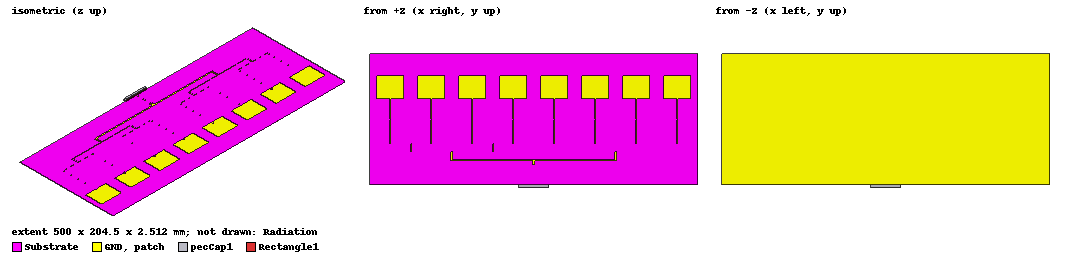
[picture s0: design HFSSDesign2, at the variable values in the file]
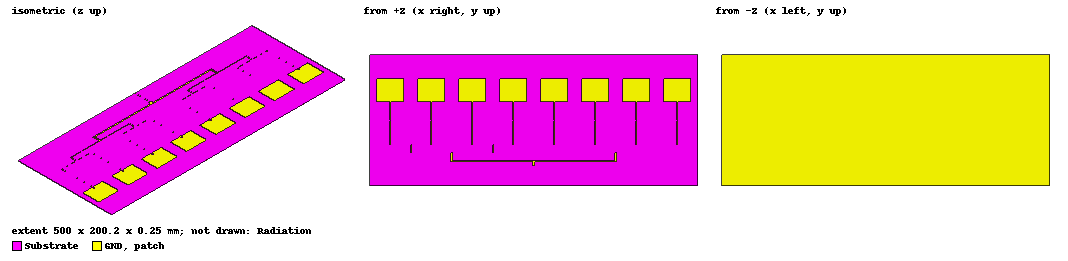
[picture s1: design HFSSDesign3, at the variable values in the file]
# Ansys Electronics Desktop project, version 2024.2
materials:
  vacuum: permittivity=1
  air: permittivity=1.0006 permeability=1.0000004
  copper: permeability=0.999991 conductivity=58000000
  pec: conductivity=1e+30
  polyimide - JLC: permittivity=3.3 dielectric_loss_tangent=0.008

design HFSSDesign2 (HFSS, HFSS Modal Network, model units mm)
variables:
  wqwt = 0.62mm
  lambda = 125mm
  t = 0.5mm
  w = 42.624646mm
  l = 34.401747mm
  wbase = 4.5mm
  t1 = 2.25mm
  t2 = 1mm
  lambda2 = 0
  k = (53+5.70087333) mm
  t3 = 0.5mm
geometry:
  GND [copper] = box(corner=(-2*lambda, -50mm, 0mm), size=(4*lambda, 200mm, 0.012mm))
  Substrate [polyimide - JLC] = box(corner=(-2*lambda, -50mm, 0.012mm), size=(lambda*4, 200mm, 0.025mm))
  quarterwavetransformer = box(corner=(-wqwt/2, -50mm, 0.037mm), size=(wqwt, lambda/4, 0.012mm))
  patch [copper] = box(corner=(-w/2, -l/2, 0.037mm), size=(w, l, 0.012mm))
  cut = box(corner=(-t3, -(l/2-1mm), 0.037mm), size=(2*t3, -1mm, 0.012mm))
  patch.subtract(cut)
  patch.move(-3*lambda/4, 20mm, 0mm)
  BaseFeed = box(corner=(-wbase /2, lambda/4-50mm, 0.037mm), size=(wbase, 5mm, 0.012mm))
  BaseFeed.unite(quarterwavetransformer)
  Second_Feed = box(corner=(-lambda-t1/2, -13.75mm, 0.037mm), size=(2*lambda+t1, 2.25mm, 0.012mm))
  patch1 = box(corner=(-w/2, -l/2, 0.037mm), size=(w, l, 0.012mm))
  cut1 = box(corner=(-2*t3, -(l/2-4mm), 0.037mm), size=(4*t3, -4mm, 0.012mm))
  patch1.subtract(cut1)
  patch1.move(-lambda/2, 20mm, 0mm)
  patch1.move(3*lambda/4, 0mm, 0mm)
  Rectangle1 = rectangle(corner=(-5*wbase, -50mm, 0.012mm), z_size=2.5mm, x_size=10*wbase)
  Radiation [air] = box(corner=(-500mm, -200mm, -100mm), size=(1000mm, 500mm, 200mm))
  pecCap1 [pec] = sweep_along_normal(Rectangle1.face(at (0, -50, 1.262)), length=-4.5mm)
  patch1.move(-lambda/2, 0mm, 0mm)
  [patch, patch1].move(0mm, 20mm+k, 0mm)
  Box1 = box(corner=(-lambda-t1/2, -11.5mm, 0.037mm), size=(t1, 11.5mm, 0.012mm))
  ThirdFeed = box(corner=(-3*lambda/2, 0mm, 0.037mm), size=(lambda+t2, 1mm, 0.012mm))
  ThirdFeed.unite(Box1)
  ThirdFeed1 = box(corner=(lambda/2-t2/2, 0mm, 0.037mm), size=(lambda+t2, 1mm, 0.012mm))
  Box2 = box(corner=(lambda-t1/2, -11.5mm, 0.037mm), size=(t1, 11.5mm, 0.012mm))
  ThirdFeed1.unite(Box2)
  patch2 = box(corner=(-w/2, -l/2, 0.037mm), size=(w, l, 0.012mm))
  cut2 = box(corner=(-2*t3, -(l/2-4mm), 0.037mm), size=(4*t3, -4mm, 0.012mm))
  patch2.subtract(cut2)
  patch2.move(-lambda/2, 20mm, 0mm)
  patch2.move(3*lambda/4, 0mm, 0mm)
  patch2.move(-lambda/2, 0mm, 0mm)
  patch2.move(0mm, 15mm, 0mm)
  patch3 = box(corner=(-w/2, -l/2, 0.037mm), size=(w, l, 0.012mm))
  cut3 = box(corner=(-2*t3, -(l/2-4mm), 0.037mm), size=(4*t3, -4mm, 0.012mm))
  patch3.subtract(cut3)
  patch3.move(-lambda/2, 20mm, 0mm)
  patch3.move(3*lambda/4, 0mm, 0mm)
  patch3.move(-lambda/2, 0mm, 0mm)
  patch3.move(0mm, 15mm, 0mm)
  patch2.move(lambda/2, k+5mm, 0mm)
  patch3.move(lambda, k+5mm, 0mm)
  patch4 = box(corner=(-w/2, -l/2, 0.037mm), size=(w, l, 0.012mm))
  cut4 = box(corner=(-2*t3, -(l/2-4mm), 0.037mm), size=(4*t3, -4mm, 0.012mm))
  patch4.subtract(cut4)
  patch4.move(-3*lambda/4, 20mm, 0mm)
  patch4.move(0mm, 15mm, 0mm)
  patch5 = box(corner=(-w/2, -l/2, 0.037mm), size=(w, l, 0.012mm))
  cut5 = box(corner=(-2*t3, -(l/2-4mm), 0.037mm), size=(4*t3, -4mm, 0.012mm))
  patch5.subtract(cut5)
  patch5.move(-3*lambda/4, 20mm, 0mm)
  patch5.move(0mm, 15mm, 0mm)
  patch6 = box(corner=(-w/2, -l/2, 0.037mm), size=(w, l, 0.012mm))
  cut6 = box(corner=(-2*t3, -(l/2-4mm), 0.037mm), size=(4*t3, -4mm, 0.012mm))
  patch6.subtract(cut6)
  patch6.move(-3*lambda/4, 20mm, 0mm)
  patch6.move(0mm, 15mm, 0mm)
  patch7 = box(corner=(-w/2, -l/2, 0.037mm), size=(w, l, 0.012mm))
  cut7 = box(corner=(-2*t3, -(l/2-4mm), 0.037mm), size=(4*t3, -4mm, 0.012mm))
  patch7.subtract(cut7)
  patch7.move(-3*lambda/4, 20mm, 0mm)
  patch7.move(0mm, 15mm, 0mm)
  patch4.move(-lambda/2, k+5mm, 0mm)
  patch5.move(-lambda, k+5mm, 0mm)
  patch6.move(2*lambda, k+5mm, 0mm)
  patch7.move(5*lambda/2, k+5mm, 0mm)
  FourthFeed = box(corner=(-lambda/2, 1mm, 0.037mm), size=(t2, 11.5mm, 0.012mm))
  FifthFeed = box(corner=(-3*lambda/4-t/2, 12.5mm, 0.037mm), size=(lambda/2 + t, t, 0.012mm))
  FourthFeed.unite(FifthFeed)
  FourthFeed1 = box(corner=(-lambda/2, 1mm, 0.037mm), size=(t2, 11.5mm, 0.012mm))
  FifthFeed1 = box(corner=(-3*lambda/4-t/2, 12.5mm, 0.037mm), size=(lambda/2 + t, t, 0.012mm))
  FourthFeed1.unite(FifthFeed1)
  FourthFeed1.move(-125mm, 0mm, 0mm)
  FourthFeed2 = box(corner=(-lambda/2, 1mm, 0.037mm), size=(t2, 11.5mm, 0.012mm))
  FifthFeed2 = box(corner=(-3*lambda/4-t/2, 12.5mm, 0.037mm), size=(lambda/2 + t, t, 0.012mm))
  FourthFeed2.unite(FifthFeed2)
  FourthFeed3 = box(corner=(-lambda/2-t2/2, 1mm, 0.037mm), size=(t2, 11.5mm, 0.012mm))
  FifthFeed3 = box(corner=(-3*lambda/4-t/2, 12.5mm, 0.037mm), size=(lambda/2 + t, t, 0.012mm))
  FourthFeed3.unite(FifthFeed3)
  FourthFeed3.move(125mm, 0mm, 0mm)
  FourthFeed4 = box(corner=(-lambda/2-t2/2, 1mm, 0.037mm), size=(t2, 11.5mm, 0.012mm))
  FifthFeed4 = box(corner=(-3*lambda/4-t/2, 12.5mm, 0.037mm), size=(lambda/2 + t, t, 0.012mm))
  FourthFeed4.unite(FifthFeed4)
  FourthFeed4.move(2*lambda, 0mm, 0mm)
  goofyfeed = box(corner=(-94mm, 13mm, 0.037mm), size=(0.5mm, 5mm, 0.012mm))
  qwit1 = box(corner=(-0.0940396643mm-3*lambda/4, 18mm, 0.037mm), size=(0.18807933mm, lambda/4, 0.012mm))
  switchshort = box(corner=(-0.0294311061mm-3*lambda/4, 49.25mm, 0.037mm), size=(0.058862212mm, 2mm, 0.012mm))
  qwit2 = box(corner=(-0.0940396643mm-3*lambda/4, 51.25mm, 0.037mm), size=(0.18807933mm, lambda/4, 0.012mm))
  feed = box(corner=(-0.25mm-3*lambda/4, 82.5mm, 0.037mm), size=(0.5mm, 12.299126666701mm+k-66mm, 0.012mm))
  feed.unite(goofyfeed, qwit1, qwit2)
  feed1 = box(corner=(-0.25mm-3*lambda/4, 82.5mm, 0.037mm), size=(0.5mm, 12.299126666702mm+k-66mm, 0.012mm))
  goofyfeed1 = box(corner=(-94mm, 13mm, 0.037mm), size=(0.5mm, 5mm, 0.012mm))
  qwit3 = box(corner=(-0.0940396643mm-3*lambda/4, 18mm, 0.037mm), size=(0.18807933mm, lambda/4, 0.012mm))
  qwit4 = box(corner=(-0.0940396643mm-3*lambda/4, 51.25mm, 0.037mm), size=(0.18807933mm, lambda/4, 0.012mm))
  feed1.unite(goofyfeed1, qwit3, qwit4)
  feed2 = box(corner=(-0.25mm-3*lambda/4, 82.5mm, 0.037mm), size=(0.5mm, 12.299126666702mm+k-66mm, 0.012mm))
  goofyfeed2 = box(corner=(-94mm, 13mm, 0.037mm), size=(0.5mm, 5mm, 0.012mm))
  qwit5 = box(corner=(-0.0940396643mm-3*lambda/4, 18mm, 0.037mm), size=(0.18807933mm, lambda/4, 0.012mm))
  qwit6 = box(corner=(-0.0940396643mm-3*lambda/4, 51.25mm, 0.037mm), size=(0.18807933mm, lambda/4, 0.012mm))
  feed2.unite(goofyfeed2, qwit5, qwit6)
  feed3 = box(corner=(-0.25mm-3*lambda/4, 82.5mm, 0.037mm), size=(0.5mm, 12.299126666702mm+k-66mm, 0.012mm))
  goofyfeed3 = box(corner=(-94mm, 13mm, 0.037mm), size=(0.5mm, 5mm, 0.012mm))
  qwit7 = box(corner=(-0.0940396643mm-3*lambda/4, 18mm, 0.037mm), size=(0.18807933mm, lambda/4, 0.012mm))
  qwit8 = box(corner=(-0.0940396643mm-3*lambda/4, 51.25mm, 0.037mm), size=(0.18807933mm, lambda/4, 0.012mm))
  feed3.unite(goofyfeed3, qwit7, qwit8)
  feed4 = box(corner=(-0.25mm-3*lambda/4, 82.5mm, 0.037mm), size=(0.5mm, 12.299126666702mm+k-66mm, 0.012mm))
  goofyfeed4 = box(corner=(-94mm, 13mm, 0.037mm), size=(0.5mm, 5mm, 0.012mm))
  qwit9 = box(corner=(-0.0940396643mm-3*lambda/4, 18mm, 0.037mm), size=(0.18807933mm, lambda/4, 0.012mm))
  qwit10 = box(corner=(-0.0940396643mm-3*lambda/4, 51.25mm, 0.037mm), size=(0.18807933mm, lambda/4, 0.012mm))
  feed4.unite(goofyfeed4, qwit9, qwit10)
  feed5 = box(corner=(-0.25mm-3*lambda/4, 82.5mm, 0.037mm), size=(0.5mm, 12.299126666702mm+k-66mm, 0.012mm))
  goofyfeed5 = box(corner=(-94mm, 13mm, 0.037mm), size=(0.5mm, 5mm, 0.012mm))
  qwit11 = box(corner=(-0.0940396643mm-3*lambda/4, 18mm, 0.037mm), size=(0.18807933mm, lambda/4, 0.012mm))
  qwit12 = box(corner=(-0.0940396643mm-3*lambda/4, 51.25mm, 0.037mm), size=(0.18807933mm, lambda/4, 0.012mm))
  feed5.unite(goofyfeed5, qwit11, qwit12)
  feed6 = box(corner=(-0.25mm-3*lambda/4, 82.5mm, 0.037mm), size=(0.5mm, 12.299126666702mm+k-66mm, 0.012mm))
  goofyfeed6 = box(corner=(-94mm, 13mm, 0.037mm), size=(0.5mm, 5mm, 0.012mm))
  qwit13 = box(corner=(-0.0940396643mm-3*lambda/4, 18mm, 0.037mm), size=(0.18807933mm, lambda/4, 0.012mm))
  qwit14 = box(corner=(-0.0940396643mm-3*lambda/4, 51.25mm, 0.037mm), size=(0.18807933mm, lambda/4, 0.012mm))
  feed6.unite(goofyfeed6, qwit13, qwit14)
  feed7 = box(corner=(-0.25mm-3*lambda/4, 82.5mm, 0.037mm), size=(0.5mm, 12.299126666702mm+k-66mm, 0.012mm))
  goofyfeed7 = box(corner=(-94mm, 13mm, 0.037mm), size=(0.5mm, 5mm, 0.012mm))
  qwit15 = box(corner=(-0.0940396643mm-3*lambda/4, 18mm, 0.037mm), size=(0.18807933mm, lambda/4, 0.012mm))
  qwit16 = box(corner=(-0.0940396643mm-3*lambda/4, 51.25mm, 0.037mm), size=(0.18807933mm, lambda/4, 0.012mm))
  feed7.unite(goofyfeed7, qwit15, qwit16)
  feed1.move(lambda/2, 0mm, 0mm)
  feed2.move(lambda, 0mm, 0mm)
  feed3.move(3*lambda/2, 0mm, 0mm)
  feed4.move(2*lambda, 0mm, 0mm)
  feed5.move(5*lambda/2, 0mm, 0mm)
  feed6.move(-lambda/2, 0mm, 0mm)
  feed7.move(-lambda, 0mm, 0mm)
  patch.unite(feed)
  patch1.unite(feed1)
  patch2.unite(feed2)
  patch3.unite(feed3)
  patch4.unite(feed6)
  patch5.unite(feed7)
  patch6.unite(feed4)
  patch7.unite(feed5)
  patch.unite(patch1, patch2, patch7, switchshort, Second_Feed, FourthFeed4, FourthFeed3, FourthFeed2, FourthFeed1, FourthFeed, BaseFeed, ThirdFeed1, ThirdFeed, patch6, patch5, patch4, patch3)
  Rectangle2 = rectangle(corner=(-156.34404mm, 49.25mm, 0.049mm), z_size=-0.037mm, x_size=0.18807933mm)
  Rectangle3 = rectangle(corner=(-156.34404mm, 49.25mm, 0.049mm), z_size=-0.037mm, x_size=0.18807933mm)
  Rectangle4 = rectangle(corner=(-156.34404mm, 49.25mm, 0.049mm), z_size=-0.037mm, x_size=0.18807933mm)
  Rectangle5 = rectangle(corner=(-156.34404mm, 49.25mm, 0.049mm), z_size=-0.037mm, x_size=0.18807933mm)
  Rectangle6 = rectangle(corner=(-156.34404mm, 49.25mm, 0.049mm), z_size=-0.037mm, x_size=0.18807933mm)
  Rectangle7 = rectangle(corner=(-156.34404mm, 49.25mm, 0.049mm), z_size=-0.037mm, x_size=0.18807933mm)
  Rectangle8 = rectangle(corner=(-156.34404mm, 49.25mm, 0.049mm), z_size=-0.037mm, x_size=0.18807933mm)
  Rectangle3.move(-lambda/2, 0mm, 0mm)
  Rectangle4.move(lambda, 0mm, 0mm)
  Rectangle5.move(3*lambda/2, 0mm, 0mm)
  Rectangle6.move(2*lambda, 0mm, 0mm)
  Rectangle7.move(5*lambda/2, 0mm, 0mm)
  Rectangle8.move(3*lambda, 0mm, 0mm)
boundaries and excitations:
  PerfE1: Perfect E Objects=patch
  Rad1: Radiation Objects=Radiation
  PerfE3: Perfect E Objects=GND
  1: Wave Port Objects=Rectangle1 WavePortType=Modal NumModes=1 Modes{Mode1{CharImp=Zpi}}
  2: Lumped Port Objects=Rectangle2 LumpedPortType=Modal Modes{Mode1{IntLine{(-156.25, 49.25, 0.012) -> (-156.25, 49.25, 0.049)} CharImp=Zpi RenormImp=50ohm}} Impedance=50ohm
  3: Lumped Port Objects=Rectangle3 LumpedPortType=Modal Modes{Mode1{IntLine{(-218.75, 49.25, 0.012) -> (-218.75, 49.25, 0.049)} CharImp=Zpi RenormImp=50ohm}} Impedance=50ohm
  4: Lumped Port Objects=Rectangle4 LumpedPortType=Modal Modes{Mode1{IntLine{(-31.25, 49.25, 0.012) -> (-31.25, 49.25, 0.049)} CharImp=Zpi RenormImp=50ohm}} Impedance=50ohm
  5: Lumped Port Objects=Rectangle5 LumpedPortType=Modal Modes{Mode1{IntLine{(31.25, 49.25, 0.012) -> (31.25, 49.25, 0.049)} CharImp=Zpi RenormImp=50ohm}} Impedance=50ohm
  6: Lumped Port Objects=Rectangle6 LumpedPortType=Modal Modes{Mode1{IntLine{(93.75, 49.25, 0.012) -> (93.75, 49.25, 0.049)} CharImp=Zpi RenormImp=50ohm}} Impedance=50ohm
  7: Lumped Port Objects=Rectangle7 LumpedPortType=Modal Modes{Mode1{IntLine{(156.25, 49.25, 0.012) -> (156.25, 49.25, 0.049)} CharImp=Zpi RenormImp=50ohm}} Impedance=50ohm
  8: Lumped Port Objects=Rectangle8 LumpedPortType=Modal Modes{Mode1{IntLine{(218.75, 49.25, 0.012) -> (218.75, 49.25, 0.049)} CharImp=Zpi RenormImp=50ohm}} Impedance=50ohm
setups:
  Setup1: HfssDriven Frequency=2.4GHz MaxDeltaS=0.02 MaximumPasses=6 MinimumPasses=1 MinimumConvergedPasses=1 PercentRefinement=30 BasisOrder=1 PortAccuracy=2 DrivenSolverType="Direct Solver"
    sweep Sweep: 1.2GHz to 3.6GHz, 401 points; Type=Fast SaveFields
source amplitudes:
  1:1: 1V 0deg
  2:1, 3:1, 4:1, 5:1, 6:1, 7:1, 8:1: 0W 0deg
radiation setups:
  Infinite Sphere1: Infinite Sphere Theta=-180deg..180deg step 2deg Phi=0deg..90deg step 90deg
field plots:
  Mag_E1: E Field over patch.face(at (-42.4062, 81.5, 0.043), at (-31.25, 83.5759, 0.049), at (-31.25, 83.5759, 0.037), at (-20.0938, 81.5, 0.043), at (-52.5623, 98.7009, 0.043), at (-31.25, 115.902, 0.043), at (-9.93768, 98.7009, 0.043), at (-32.25, 83.5, 0.043), at (-30.25, 83.5, 0.043), at (-31.25, 51.25, 0.043), at (-31.344, 66.875, 0.043), at (-31.156, 66.875, 0.043)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) on Setup1 : Sweep at Freq=2.358GHz Phase=0deg
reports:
  S Parameter Plot 1: dB(S(1,1)) vs Freq on Setup1 : Sweep; markers m1 at 1.716GHz, m2 at 2.04GHz, m3 at 2.592GHz, m4 at 2.886GHz, m5 at 3.198GHz, m6 at 2.358GHz
  Gain Plot 1: dB(GainTotal) vs Theta on Setup1 : LastAdaptive, Infinite Sphere1 [Phi=all Freq=2.4GHz]

design HFSSDesign3 (HFSS, HFSS Modal Network, model units mm)
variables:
  wqwt = 0.62mm
  lambda = 125mm
  t = 0.5mm
  w = 42.624646mm
  l = 34.401747mm
  wbase = 4.5mm
  t1 = 2.25mm
  t2 = 1mm
  lambda2 = 0
  k = (50+5.70087333) mm
  t3 = 0.5mm
  h = 0.025mm
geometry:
  GND [copper] = box(corner=(-2*lambda, -50mm, 0mm), size=(4*lambda, 200mm, 0.012mm))
  Substrate [polyimide - JLC] = box(corner=(-2*lambda, -50mm, 0.012mm), size=(lambda*4, 200mm, 0.025mm))
  quarterwavetransformer = box(corner=(-wqwt/2, -50mm, 0.037mm), size=(wqwt, lambda/4, 0.012mm))
  patch [copper] = box(corner=(-w/2, -l/2, 0.037mm), size=(w, l, 0.012mm))
  cut = box(corner=(-t3, -(l/2-1mm), 0.037mm), size=(2*t3, -1mm, 0.012mm))
  patch.subtract(cut)
  patch.move(-3*lambda/4, 20mm, 0mm)
  BaseFeed = box(corner=(-wbase /2, lambda/4-50mm, 0.037mm), size=(wbase, 5mm, 0.012mm))
  BaseFeed.unite(quarterwavetransformer)
  Second_Feed = box(corner=(-lambda-t1/2, -13.75mm, 0.037mm), size=(2*lambda+t1, 2.25mm, 0.012mm))
  patch1 = box(corner=(-w/2, -l/2, 0.037mm), size=(w, l, 0.012mm))
  cut1 = box(corner=(-2*t3, -(l/2-4mm), 0.037mm), size=(4*t3, -4mm, 0.012mm))
  patch1.subtract(cut1)
  patch1.move(-lambda/2, 20mm, 0mm)
  patch1.move(3*lambda/4, 0mm, 0mm)
  Radiation [air] = box(corner=(-500mm, -200mm, -100mm), size=(1000mm, 500mm, 200mm))
  patch1.move(-lambda/2, 0mm, 0mm)
  [patch, patch1].move(0mm, 20mm+k, 0mm)
  Box1 = box(corner=(-lambda-t1/2, -11.5mm, 0.037mm), size=(t1, 11.5mm, 0.012mm))
  ThirdFeed = box(corner=(-3*lambda/2, 0mm, 0.037mm), size=(lambda+t2, 1mm, 0.012mm))
  ThirdFeed.unite(Box1)
  ThirdFeed1 = box(corner=(lambda/2-t2/2, 0mm, 0.037mm), size=(lambda+t2, 1mm, 0.012mm))
  Box2 = box(corner=(lambda-t1/2, -11.5mm, 0.037mm), size=(t1, 11.5mm, 0.012mm))
  ThirdFeed1.unite(Box2)
  patch2 = box(corner=(-w/2, -l/2, 0.037mm), size=(w, l, 0.012mm))
  cut2 = box(corner=(-2*t3, -(l/2-4mm), 0.037mm), size=(4*t3, -4mm, 0.012mm))
  patch2.subtract(cut2)
  patch2.move(-lambda/2, 20mm, 0mm)
  patch2.move(3*lambda/4, 0mm, 0mm)
  patch2.move(-lambda/2, 0mm, 0mm)
  patch2.move(0mm, 15mm, 0mm)
  patch3 = box(corner=(-w/2, -l/2, 0.037mm), size=(w, l, 0.012mm))
  cut3 = box(corner=(-2*t3, -(l/2-4mm), 0.037mm), size=(4*t3, -4mm, 0.012mm))
  patch3.subtract(cut3)
  patch3.move(-lambda/2, 20mm, 0mm)
  patch3.move(3*lambda/4, 0mm, 0mm)
  patch3.move(-lambda/2, 0mm, 0mm)
  patch3.move(0mm, 15mm, 0mm)
  patch2.move(lambda/2, k+5mm, 0mm)
  patch3.move(lambda, k+5mm, 0mm)
  patch4 = box(corner=(-w/2, -l/2, 0.037mm), size=(w, l, 0.012mm))
  cut4 = box(corner=(-2*t3, -(l/2-4mm), 0.037mm), size=(4*t3, -4mm, 0.012mm))
  patch4.subtract(cut4)
  patch4.move(-3*lambda/4, 20mm, 0mm)
  patch4.move(0mm, 15mm, 0mm)
  patch5 = box(corner=(-w/2, -l/2, 0.037mm), size=(w, l, 0.012mm))
  cut5 = box(corner=(-2*t3, -(l/2-4mm), 0.037mm), size=(4*t3, -4mm, 0.012mm))
  patch5.subtract(cut5)
  patch5.move(-3*lambda/4, 20mm, 0mm)
  patch5.move(0mm, 15mm, 0mm)
  patch6 = box(corner=(-w/2, -l/2, 0.037mm), size=(w, l, 0.012mm))
  cut6 = box(corner=(-2*t3, -(l/2-4mm), 0.037mm), size=(4*t3, -4mm, 0.012mm))
  patch6.subtract(cut6)
  patch6.move(-3*lambda/4, 20mm, 0mm)
  patch6.move(0mm, 15mm, 0mm)
  patch7 = box(corner=(-w/2, -l/2, 0.037mm), size=(w, l, 0.012mm))
  cut7 = box(corner=(-2*t3, -(l/2-4mm), 0.037mm), size=(4*t3, -4mm, 0.012mm))
  patch7.subtract(cut7)
  patch7.move(-3*lambda/4, 20mm, 0mm)
  patch7.move(0mm, 15mm, 0mm)
  patch4.move(-lambda/2, k+5mm, 0mm)
  patch5.move(-lambda, k+5mm, 0mm)
  patch6.move(2*lambda, k+5mm, 0mm)
  patch7.move(5*lambda/2, k+5mm, 0mm)
  FourthFeed = box(corner=(-lambda/2, 1mm, 0.037mm), size=(t2, 11.5mm, 0.012mm))
  FifthFeed = box(corner=(-3*lambda/4-t/2, 12.5mm, 0.037mm), size=(lambda/2 + t, t, 0.012mm))
  FourthFeed.unite(FifthFeed)
  FourthFeed1 = box(corner=(-lambda/2, 1mm, 0.037mm), size=(t2, 11.5mm, 0.012mm))
  FifthFeed1 = box(corner=(-3*lambda/4-t/2, 12.5mm, 0.037mm), size=(lambda/2 + t, t, 0.012mm))
  FourthFeed1.unite(FifthFeed1)
  FourthFeed1.move(-125mm, 0mm, 0mm)
  FourthFeed2 = box(corner=(-lambda/2, 1mm, 0.037mm), size=(t2, 11.5mm, 0.012mm))
  FifthFeed2 = box(corner=(-3*lambda/4-t/2, 12.5mm, 0.037mm), size=(lambda/2 + t, t, 0.012mm))
  FourthFeed2.unite(FifthFeed2)
  FourthFeed3 = box(corner=(-lambda/2-t2/2, 1mm, 0.037mm), size=(t2, 11.5mm, 0.012mm))
  FifthFeed3 = box(corner=(-3*lambda/4-t/2, 12.5mm, 0.037mm), size=(lambda/2 + t, t, 0.012mm))
  FourthFeed3.unite(FifthFeed3)
  FourthFeed3.move(125mm, 0mm, 0mm)
  FourthFeed4 = box(corner=(-lambda/2-t2/2, 1mm, 0.037mm), size=(t2, 11.5mm, 0.012mm))
  FifthFeed4 = box(corner=(-3*lambda/4-t/2, 12.5mm, 0.037mm), size=(lambda/2 + t, t, 0.012mm))
  FourthFeed4.unite(FifthFeed4)
  FourthFeed4.move(2*lambda, 0mm, 0mm)
  goofyfeed = box(corner=(-94mm, 13mm, 0.037mm), size=(0.5mm, 5mm, 0.012mm))
  qwit1 = box(corner=(-0.0940396643mm-3*lambda/4, 18mm, 0.037mm), size=(0.18807933mm, lambda/4, 0.012mm))
  switchshort = box(corner=(-0.0294311061mm-3*lambda/4, 49.25mm, 0.037mm), size=(0.058862212mm, 2mm, 0.012mm))
  qwit2 = box(corner=(-0.0940396643mm-3*lambda/4, 51.25mm, 0.037mm), size=(0.18807933mm, lambda/4, 0.012mm))
  feed = box(corner=(-0.25mm-3*lambda/4, 82.5mm, 0.037mm), size=(0.5mm, 12.299126666701mm+k-66mm, 0.012mm))
  feed.unite(goofyfeed, qwit1, qwit2)
  feed1 = box(corner=(-0.25mm-3*lambda/4, 82.5mm, 0.037mm), size=(0.5mm, 12.299126666702mm+k-66mm, 0.012mm))
  goofyfeed1 = box(corner=(-94mm, 13mm, 0.037mm), size=(0.5mm, 5mm, 0.012mm))
  qwit3 = box(corner=(-0.0940396643mm-3*lambda/4, 18mm, 0.037mm), size=(0.18807933mm, lambda/4, 0.012mm))
  qwit4 = box(corner=(-0.0940396643mm-3*lambda/4, 51.25mm, 0.037mm), size=(0.18807933mm, lambda/4, 0.012mm))
  feed1.unite(goofyfeed1, qwit3, qwit4)
  feed2 = box(corner=(-0.25mm-3*lambda/4, 82.5mm, 0.037mm), size=(0.5mm, 12.299126666702mm+k-66mm, 0.012mm))
  goofyfeed2 = box(corner=(-94mm, 13mm, 0.037mm), size=(0.5mm, 5mm, 0.012mm))
  qwit5 = box(corner=(-0.0940396643mm-3*lambda/4, 18mm, 0.037mm), size=(0.18807933mm, lambda/4, 0.012mm))
  qwit6 = box(corner=(-0.0940396643mm-3*lambda/4, 51.25mm, 0.037mm), size=(0.18807933mm, lambda/4, 0.012mm))
  feed2.unite(goofyfeed2, qwit5, qwit6)
  feed3 = box(corner=(-0.25mm-3*lambda/4, 82.5mm, 0.037mm), size=(0.5mm, 12.299126666702mm+k-66mm, 0.012mm))
  goofyfeed3 = box(corner=(-94mm, 13mm, 0.037mm), size=(0.5mm, 5mm, 0.012mm))
  qwit7 = box(corner=(-0.0940396643mm-3*lambda/4, 18mm, 0.037mm), size=(0.18807933mm, lambda/4, 0.012mm))
  qwit8 = box(corner=(-0.0940396643mm-3*lambda/4, 51.25mm, 0.037mm), size=(0.18807933mm, lambda/4, 0.012mm))
  feed3.unite(goofyfeed3, qwit7, qwit8)
  feed4 = box(corner=(-0.25mm-3*lambda/4, 82.5mm, 0.037mm), size=(0.5mm, 12.299126666702mm+k-66mm, 0.012mm))
  goofyfeed4 = box(corner=(-94mm, 13mm, 0.037mm), size=(0.5mm, 5mm, 0.012mm))
  qwit9 = box(corner=(-0.0940396643mm-3*lambda/4, 18mm, 0.037mm), size=(0.18807933mm, lambda/4, 0.012mm))
  qwit10 = box(corner=(-0.0940396643mm-3*lambda/4, 51.25mm, 0.037mm), size=(0.18807933mm, lambda/4, 0.012mm))
  feed4.unite(goofyfeed4, qwit9, qwit10)
  feed5 = box(corner=(-0.25mm-3*lambda/4, 82.5mm, 0.037mm), size=(0.5mm, 12.299126666702mm+k-66mm, 0.012mm))
  goofyfeed5 = box(corner=(-94mm, 13mm, 0.037mm), size=(0.5mm, 5mm, 0.012mm))
  qwit11 = box(corner=(-0.0940396643mm-3*lambda/4, 18mm, 0.037mm), size=(0.18807933mm, lambda/4, 0.012mm))
  qwit12 = box(corner=(-0.0940396643mm-3*lambda/4, 51.25mm, 0.037mm), size=(0.18807933mm, lambda/4, 0.012mm))
  feed5.unite(goofyfeed5, qwit11, qwit12)
  feed6 = box(corner=(-0.25mm-3*lambda/4, 82.5mm, 0.037mm), size=(0.5mm, 12.299126666702mm+k-66mm, 0.012mm))
  goofyfeed6 = box(corner=(-94mm, 13mm, 0.037mm), size=(0.5mm, 5mm, 0.012mm))
  qwit13 = box(corner=(-0.0940396643mm-3*lambda/4, 18mm, 0.037mm), size=(0.18807933mm, lambda/4, 0.012mm))
  qwit14 = box(corner=(-0.0940396643mm-3*lambda/4, 51.25mm, 0.037mm), size=(0.18807933mm, lambda/4, 0.012mm))
  feed6.unite(goofyfeed6, qwit13, qwit14)
  feed7 = box(corner=(-0.25mm-3*lambda/4, 82.5mm, 0.037mm), size=(0.5mm, 12.299126666702mm+k-66mm, 0.012mm))
  goofyfeed7 = box(corner=(-94mm, 13mm, 0.037mm), size=(0.5mm, 5mm, 0.012mm))
  qwit15 = box(corner=(-0.0940396643mm-3*lambda/4, 18mm, 0.037mm), size=(0.18807933mm, lambda/4, 0.012mm))
  qwit16 = box(corner=(-0.0940396643mm-3*lambda/4, 51.25mm, 0.037mm), size=(0.18807933mm, lambda/4, 0.012mm))
  feed7.unite(goofyfeed7, qwit15, qwit16)
  feed1.move(lambda/2, 0mm, 0mm)
  feed2.move(lambda, 0mm, 0mm)
  feed3.move(3*lambda/2, 0mm, 0mm)
  feed4.move(2*lambda, 0mm, 0mm)
  feed5.move(5*lambda/2, 0mm, 0mm)
  feed6.move(-lambda/2, 0mm, 0mm)
  feed7.move(-lambda, 0mm, 0mm)
  patch.unite(feed)
  patch1.unite(feed1)
  patch2.unite(feed2)
  patch3.unite(feed3)
  patch4.unite(feed6)
  patch5.unite(feed7)
  patch6.unite(feed4)
  patch7.unite(feed5)
  patch.unite(patch1, patch2, patch7, switchshort, Second_Feed, FourthFeed4, FourthFeed3, FourthFeed2, FourthFeed1, FourthFeed, BaseFeed, ThirdFeed1, ThirdFeed, patch6, patch5, patch4, patch3)
  WavePort1 = rectangle(corner=(-2*wqwt, -50mm, -5*h), z_size=10*h, x_size=4*wqwt)
  pecCap1 [pec] = sweep_along_normal(WavePort1.face(at (0, -50, 0)), length=-0.24mm)
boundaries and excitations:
  PerfE1: Perfect E Objects=patch
  Rad1: Radiation Objects=Radiation
  PerfE3: Perfect E Objects=GND
  1: Wave Port Objects=WavePort1 WavePortType=Modal NumModes=1 Modes{Mode1{IntLine{(0, -50, -0.125) -> (0, -50, 0.125)} CharImp=Zpi}}
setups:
  Setup1: HfssDriven Frequency=2.4GHz MaxDeltaS=0.02 MaximumPasses=6 MinimumPasses=1 MinimumConvergedPasses=1 PercentRefinement=30 BasisOrder=1 PortAccuracy=2 DrivenSolverType="Direct Solver"
    sweep Sweep: 1.2GHz to 3.6GHz, 401 points; Type=Fast SaveFields
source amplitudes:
  1:1: 1W 0deg
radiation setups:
  Infinite Sphere1: Infinite Sphere Theta=-180deg..180deg step 2deg Phi=0deg..90deg step 90deg
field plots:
  Mag_E1: E Field over patch.face(at (-42.4062, 78.5, 0.043), at (-31.25, 82.0759, 0.049), at (-31.25, 82.0759, 0.037), at (-20.0938, 78.5, 0.043), at (-52.5623, 95.7009, 0.043), at (-31.25, 112.902, 0.043), at (-9.93768, 95.7009, 0.043), at (-32.25, 80.5, 0.043), at (-30.25, 80.5, 0.043), at (-31.25, 51.25, 0.043), at (-31.344, 66.875, 0.043), at (-31.156, 66.875, 0.043)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) on Setup1 : Sweep at Freq=2.34GHz Phase=0deg
  Mag_E2: E Field over patch.face(at (-42.4062, 78.5, 0.043), at (-31.25, 82.0759, 0.049), at (-31.25, 82.0759, 0.037), at (-20.0938, 78.5, 0.043), at (-52.5623, 95.7009, 0.043), at (-31.25, 112.902, 0.043), at (-9.93768, 95.7009, 0.043), at (-32.25, 80.5, 0.043), at (-30.25, 80.5, 0.043), at (-31.25, 51.25, 0.043), at (-31.344, 66.875, 0.043), at (-31.156, 66.875, 0.043)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) on Setup1 : LastAdaptive at Freq=2.4GHz Phase=0deg
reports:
  S Parameter Plot 1: dB(S(1,1)) vs Freq on Setup1 : Sweep; markers m1 at 1.716GHz, m2 at 2.34GHz, m3 at 2.592GHz, m4 at 2.886GHz, m5 at 3.198GHz, m6 at 2.424GHz
  Gain Plot 1: dB(GainTotal) vs Theta on Setup1 : LastAdaptive, Infinite Sphere1 [Phi=all Freq=2.4GHz]
